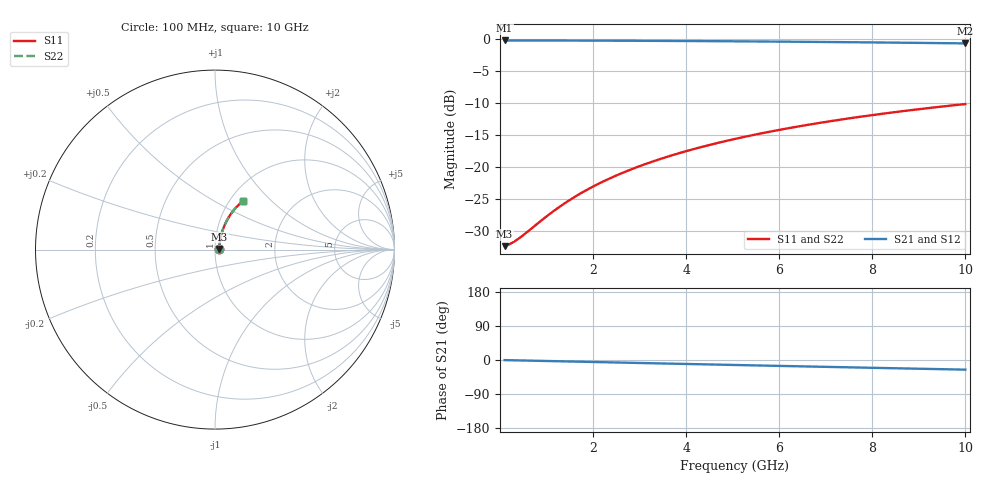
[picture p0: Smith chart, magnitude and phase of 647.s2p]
# Hz S RI R 50.00
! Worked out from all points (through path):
!   100 points, 100 MHz to 10 GHz, reference 50 ohm
!   highest |S21| = -0.21 dB at 100 MHz (marker M1); lowest = -0.7 dB at 10 GHz (marker M2)
!   group delay of S21, straight-line fit = 7.08 ps
!   lowest |S11| = -32.3 dB at 100 MHz (marker M3), VSWR 1.05, Z = 52.5 + j0.337 ohm
!   |S11| at or under -10 dB: start of sweep to end of sweep
!   |S22| runs from -32.3 to -10.1 dB; largest |S21 - S12| = 0
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1e8  0.024 0.00321  0.976 -0.00448  0.976 -0.00448  0.024 0.00321
2e8  0.0242 0.00642  0.9758 -0.00895  0.9758 -0.00895  0.0242 0.00642
3e8  0.0244 0.00962  0.9756 -0.0134  0.9756 -0.0134  0.0244 0.00962
4e8  0.0246 0.0128  0.9754 -0.0179  0.9754 -0.0179  0.0246 0.0128
1e9  0.0262 0.032  0.9737 -0.0447  0.9737 -0.0447  0.0262 0.032
1.2e9  0.0269 0.0383  0.9729 -0.0536  0.9729 -0.0536  0.0269 0.0383
1.5e9  0.0282 0.0479  0.9716 -0.0669  0.9716 -0.0669  0.0282 0.0479
1.8e9  0.0298 0.0573  0.9699 -0.0802  0.9699 -0.0802  0.0298 0.0573
2.1e9  0.0316 0.0667  0.968 -0.0934  0.968 -0.0934  0.0316 0.0667
2.5e9  0.0344 0.0791  0.9651 -0.1109  0.9651 -0.1109  0.0344 0.0791
2.9e9  0.0376 0.0914  0.9617 -0.1283  0.9617 -0.1283  0.0376 0.0914
3.4e9  0.0422 0.1066  0.9568 -0.1498  0.9568 -0.1498  0.0422 0.1066
3.8e9  0.0464 0.1185  0.9524 -0.1668  0.9524 -0.1668  0.0464 0.1185
4.2e9  0.0509 0.1303  0.9476 -0.1836  0.9476 -0.1836  0.0509 0.1303
4.6e9  0.0559 0.1418  0.9423 -0.2003  0.9423 -0.2003  0.0559 0.1418
5.1e9  0.0627 0.1559  0.9351 -0.2207  0.9351 -0.2207  0.0627 0.1559
5.9e9  0.0747 0.1776  0.9224 -0.2527  0.9224 -0.2527  0.0747 0.1776
6.7e9  0.0881 0.1982  0.9081 -0.2835  0.9081 -0.2835  0.0881 0.1982
7.5e9  0.1028 0.2176  0.8925 -0.3132  0.8925 -0.3132  0.1028 0.2176
8.4e9  0.1207 0.2379  0.8734 -0.3452  0.8734 -0.3452  0.1207 0.2379
9.2e9  0.1377 0.2546  0.8552 -0.3721  0.8552 -0.3721  0.1377 0.2546
1e10  0.1555 0.2699  0.8361 -0.3977  0.8361 -0.3977  0.1555 0.2699
